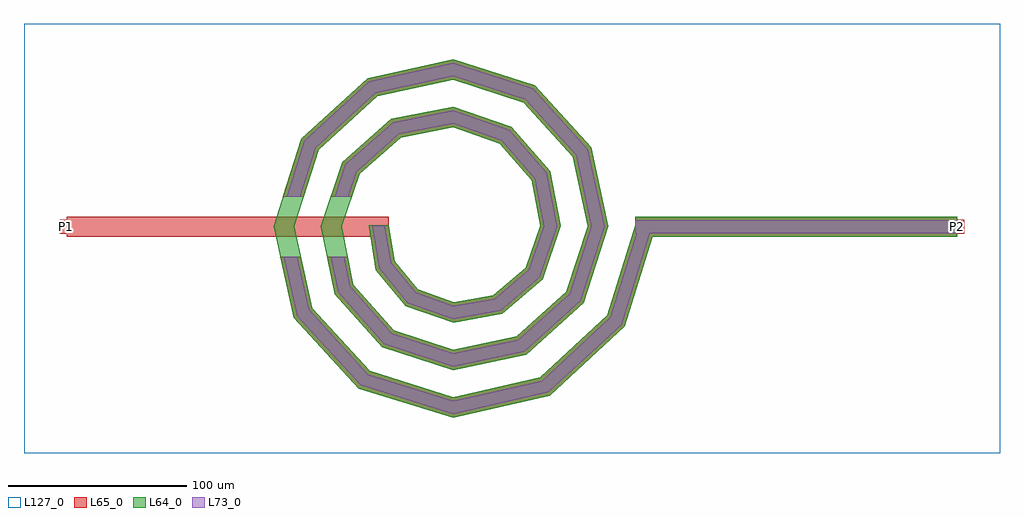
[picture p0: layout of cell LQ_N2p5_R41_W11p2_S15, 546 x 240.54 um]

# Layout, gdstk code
import gdstk
lib = gdstk.Library(unit=1e-6, precision=1e-09)
def R(c, l, rs):  # rectangles x0, y0, x1, y1
    for r in rs: c.add(gdstk.rectangle(r[:2], r[2:], *l))
def P(c, l, *ps):  # polygons
    for p in ps: c.add(gdstk.Polygon(p, *l))
L64_0 = (64, 0)
L65_0 = (65, 0)
L73_0 = (73, 0)
L127_0 = (127, 0)

lq_n2p5_r41_w11p2_s15 = lib.new_cell('LQ_N2p5_R41_W11p2_S15')
R(lq_n2p5_r41_w11p2_s15, L64_0, [(102.128,-5.6,282.128,5.6)])
P(lq_n2p5_r41_w11p2_s15, L64_0, [(-32.555,-19.425),(-19.606,-34.998),(0.495,-42.319),(22.673,-38.323),(40.699,-22.973),(48.94,0.436),(44.086,25.937),(26.328,46.409),(0.389,55.563),(-29.21,49.843),(-52.124,29.675),(-62.186,0.351),(-55.597,-32.492),(-33.016,-57.844),(0.32,-68.81),(35.778,-61.348),(63.567,-36.352),(75.435,0.294),(67.097,39.069),(39.684,69.292),(0.272,82.059),(-42.363,72.845),(-75.019,43.014),(-88.684,0.253),(-78.591,-45.66),(-46.341,-80.748),(0.236,-95.309),(48.959,-84.337),(86.478,-49.667),(102.379,1.657),(113.077,-1.657),(96.287,-55.852),(54.352,-94.603),(0.236,-106.896),(-52.553,-90.541),(-88.872,-51.025),(-100.27,0.253),(-84.794,49.254),(-47.696,83.143),(0.272,93.643),(45.959,79.045),(77.415,44.365),(87.017,0.294),(73.295,-42.666),(41.03,-71.688),(0.32,-80.39),(-39.376,-67.542),(-65.964,-37.692),(-73.763,0.351),(-61.786,36.091),(-34.347,60.242),(0.389,67.136),(32.812,56.026),(54.524,30.996),(60.507,0.436),(50.26,-29.542),(27.633,-48.81),(0.495,-53.878),(-26.283,-44.486),(-43.103,-24.256),(-46.996,0.922),(-35.949,0.922)])
R(lq_n2p5_r41_w11p2_s15, L65_0, [(-215.873,-5.6,-35.873,5.6), (102.128,-5.6,282.128,5.6), (-219.873,-4,-211.873,4), (278.128,-4,286.128,4)])
P(lq_n2p5_r41_w11p2_s15, L65_0, [(-78.592,-45.66),(-46.341,-80.748),(0.236,-95.309),(48.959,-84.337),(86.478,-49.667),(102.379,1.657),(113.077,-1.657),(96.287,-55.853),(54.352,-94.603),(0.236,-106.896),(-52.553,-90.541),(-88.872,-51.025),(-96.479,-16.8),(-85.006,-16.8)],
  [(-55.597,-32.492),(-33.016,-57.844),(0.32,-68.81),(35.778,-61.348),(63.567,-36.352),(75.435,0.294),(67.098,39.069),(39.684,69.292),(0.272,82.059),(-42.363,72.845),(-75.02,43.014),(-83.298,16.8),(-95.044,16.8),(-84.794,49.255),(-47.697,83.143),(0.272,93.643),(45.959,79.045),(77.415,44.365),(87.017,0.294),(73.295,-42.666),(41.03,-71.688),(0.32,-80.39),(-39.376,-67.542),(-65.964,-37.692),(-70.247,-16.8),(-58.814,-16.8)],
  [(-19.606,-34.998),(0.495,-42.319),(22.673,-38.324),(40.699,-22.973),(48.94,0.436),(44.086,25.937),(26.328,46.409),(0.389,55.563),(-29.21,49.843),(-52.124,29.675),(-56.439,16.8),(-68.251,16.8),(-61.786,36.091),(-34.347,60.242),(0.389,67.136),(32.812,56.026),(54.524,30.996),(60.507,0.436),(50.26,-29.542),(27.634,-48.81),(0.495,-53.878),(-26.283,-44.486),(-43.103,-24.256),(-46.996,0.922),(-35.949,0.922),(-32.555,-19.425)])
R(lq_n2p5_r41_w11p2_s15, L73_0, [(102.128,-3.6,282.128,3.6)])
P(lq_n2p5_r41_w11p2_s15, L73_0, [(-80.427,-46.618),(-47.45,-82.497),(0.152,-97.378),(49.922,-86.17),(88.23,-50.771),(104.289,1.065),(111.167,-1.065),(94.535,-54.748),(53.389,-92.77),(0.152,-104.827),(-51.443,-88.792),(-87.036,-50.067),(-94.431,-16.8),(-87.055,-16.8)],
  [(-57.448,-33.42),(-34.151,-59.576),(0.206,-70.878),(36.716,-63.195),(65.304,-37.479),(77.503,0.189),(68.94,40.015),(40.805,71.034),(0.175,84.128),(-43.316,74.684),(-76.765,44.128),(-85.396,16.8),(-92.946,16.8),(-83.048,48.14),(-46.744,81.304),(0.175,91.575),(44.838,77.304),(75.572,43.419),(84.949,0.189),(71.558,-41.538),(40.093,-69.842),(0.206,-78.322),(-38.24,-65.81),(-64.113,-36.763),(-68.205,-16.8),(-60.856,-16.8)],
  [(-20.799,-36.692),(0.319,-44.383),(23.559,-40.196),(42.406,-24.146),(51.006,0.28),(45.95,26.84),(27.486,48.126),(0.25,57.629),(-30.128,51.7),(-53.85,30.821),(-58.548,16.8),(-66.142,16.8),(-60.061,34.945),(-33.43,58.385),(0.25,65.069),(31.655,54.309),(52.66,30.092),(58.442,0.28),(48.553,-28.369),(26.748,-46.938),(0.319,-51.814),(-25.091,-42.791),(-41.22,-23.394),(-45.024,0.592),(-37.922,0.592),(-34.438,-20.288)])
R(lq_n2p5_r41_w11p2_s15, L127_0, [(-239.873,-126.896,306.128,113.643)])
lq_n2p5_r41_w11p2_s15.add(gdstk.Label('P2', (282.128,0), layer=65, texttype=0))
lq_n2p5_r41_w11p2_s15.add(gdstk.Label('P1', (-215.873,0), layer=65, texttype=0))
lq_n2p5_r41_w11p2_s15.add(gdstk.Label('P2', (286.128,0), layer=145, texttype=0))
lq_n2p5_r41_w11p2_s15.add(gdstk.Label('P1', (-219.873,0), layer=145, texttype=0))

lib.write_gds('LQ_N2p5_R41_W11p2_S15.gds')
